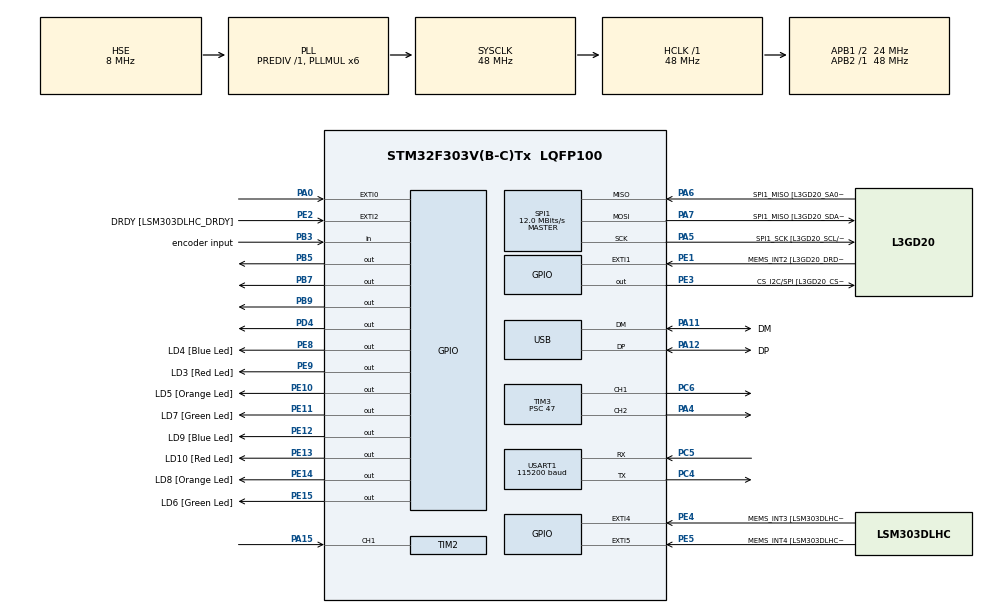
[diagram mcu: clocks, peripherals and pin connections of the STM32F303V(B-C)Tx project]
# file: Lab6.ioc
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Mcu.Family=STM32F3
Mcu.Name=STM32F303V(B-C)Tx
Mcu.Package=LQFP100
NVIC.EXTI0_IRQn=true\:0\:0\:false\:false\:true\:true\:true\:true
NVIC.PriorityGroup=NVIC_PRIORITYGROUP_0
NVIC.TIM2_IRQn=true\:0\:0\:false\:false\:true\:true\:true\:true
PA0.GPIO_PuPd=GPIO_PULLDOWN
PA0.Signal=GPXTI0
PA11.GPIO_Label=DM
PA11.Mode=Device
PA11.Signal=USB_DM
PA12.GPIO_Label=DP
PA12.Mode=Device
PA12.Signal=USB_DP
PA13.GPIO_Label=SWDIO
PA13.Mode=Serial_Wire
PA13.Signal=SYS_JTMS-SWDIO
PA14.GPIO_Label=SWCLK
PA14.Mode=Serial_Wire
PA14.Signal=SYS_JTCK-SWCLK
PA15.Signal=S_TIM2_CH1_ETR
PA4.Signal=S_TIM3_CH2
PA5.GPIO_Label=SPI1_SCK [L3GD20_SCL/SPC]
PA5.Mode=Full_Duplex_Master
PA5.Signal=SPI1_SCK
PA6.GPIO_Label=SPI1_MISO [L3GD20_SA0/SDO]
PA6.Mode=Full_Duplex_Master
PA6.Signal=SPI1_MISO
PA7.GPIO_Label=SPI1_MISO [L3GD20_SDA/SDI/SDO]
PA7.Mode=Full_Duplex_Master
PA7.Signal=SPI1_MOSI
PB3.GPIO_Label=encoder input
PB3.GPIO_PuPd=GPIO_PULLDOWN
PB3.Signal=GPIO_Input
PB5.Signal=GPIO_Output
PB7.Signal=GPIO_Output
PB9.Signal=GPIO_Output
PC14-OSC32_IN.GPIO_Label=OSC32_IN
PC14-OSC32_IN.Signal=RCC_OSC32_IN
PC15-OSC32_OUT.GPIO_Label=OSC32_OUT
PC15-OSC32_OUT.Signal=RCC_OSC32_OUT
PC4.Mode=Asynchronous
PC4.Signal=USART1_TX
PC5.Mode=Asynchronous
PC5.Signal=USART1_RX
PC6.Signal=S_TIM3_CH1
PD4.Signal=GPIO_Output
PE1.GPIO_Label=MEMS_INT2 [L3GD20_DRDY/INT2]
PE1.GPIO_ModeDefaultEXTI=GPIO_MODE_EVT_RISING
PE1.Signal=GPXTI1
PE10.GPIO_Label=LD5 [Orange Led]
PE10.Signal=GPIO_Output
PE11.GPIO_Label=LD7 [Green Led]
PE11.Signal=GPIO_Output
PE12.GPIO_Label=LD9 [Blue Led]
PE12.Signal=GPIO_Output
PE13.GPIO_Label=LD10 [Red Led]
PE13.Signal=GPIO_Output
PE14.GPIO_Label=LD8 [Orange Led]
PE14.Signal=GPIO_Output
PE15.GPIO_Label=LD6 [Green Led]
PE15.Signal=GPIO_Output
PE2.GPIO_Label=DRDY [LSM303DLHC_DRDY]
PE2.GPIO_ModeDefaultEXTI=GPIO_MODE_EVT_RISING
PE2.Signal=GPXTI2
PE3.GPIO_Label=CS_I2C/SPI [L3GD20_CS_I2C/SPI]
PE3.Signal=GPIO_Output
PE4.GPIO_Label=MEMS_INT3 [LSM303DLHC_INT1]
PE4.GPIO_ModeDefaultEXTI=GPIO_MODE_EVT_RISING
PE4.Signal=GPXTI4
PE5.GPIO_Label=MEMS_INT4 [LSM303DLHC_INT2]
PE5.GPIO_ModeDefaultEXTI=GPIO_MODE_EVT_RISING
PE5.Signal=GPXTI5
PE8.GPIO_Label=LD4 [Blue Led]
PE8.Signal=GPIO_Output
PE9.GPIO_Label=LD3 [Red Led]
PE9.Signal=GPIO_Output
PF0-OSC_IN.GPIO_Label=OSC_IN
PF0-OSC_IN.Mode=HSE-External-Clock-Source
PF0-OSC_IN.Signal=RCC_OSC_IN
PF1-OSC_OUT.GPIO_Label=OSC_OUT
PF1-OSC_OUT.Signal=RCC_OSC_OUT
ProjectManager.HeapSize=0x200
ProjectManager.StackSize=0x400
ProjectManager.TargetToolchain=CMake
RCC.AHBFreq_Value=48000000
RCC.APB1CLKDivider=RCC_HCLK_DIV2
RCC.APB1Freq_Value=24000000
RCC.APB1TimFreq_Value=48000000
RCC.APB2Freq_Value=48000000
RCC.APB2TimFreq_Value=48000000
RCC.CortexFreq_Value=48000000
RCC.HCLKFreq_Value=48000000
RCC.HSE_VALUE=8000000
RCC.HSI_VALUE=8000000
RCC.LSE_VALUE=32768
RCC.PLLMUL=RCC_PLL_MUL6
RCC.SYSCLKFreq_VALUE=48000000
RCC.SYSCLKSourceVirtual=RCC_SYSCLKSOURCE_PLLCLK
RCC.USBFreq_Value=48000000
SH.S_TIM2_CH1_ETR.0=TIM2_CH1,Input_Capture1_from_TI1
SH.S_TIM3_CH1.0=TIM3_CH1,PWM Generation1 CH1
SH.S_TIM3_CH2.0=TIM3_CH2,PWM Generation2 CH2
SPI1.BaudRatePrescaler=SPI_BAUDRATEPRESCALER_4
SPI1.BaudRatePrescaler-Full_Duplex_Master=SPI_BAUDRATEPRESCALER_2
SPI1.CalculateBaudRate=12.0 MBits/s
SPI1.CalculateBaudRate-Full_Duplex_Master=24.0 MBits/s
SPI1.Direction=SPI_DIRECTION_2LINES
SPI1.Mode=SPI_MODE_MASTER
SPI1.Mode-Full_Duplex_Master=SPI_MODE_MASTER
SPI1.VirtualType=VM_MASTER
TIM2.Channel-Input_Capture1_from_TI1=TIM_CHANNEL_1
TIM2.Prescaler=47
TIM3.Channel-PWM\ Generation1\ CH1=TIM_CHANNEL_1
TIM3.Channel-PWM\ Generation2\ CH2=TIM_CHANNEL_2
TIM3.Period=999
TIM3.Prescaler=47
USART1.BaudRate=115200
USART1.VirtualMode-Asynchronous=VM_ASYNC
VP_TIM2_VS_ClockSourceINT.Mode=Internal
board=STM32F3DISCOVERY

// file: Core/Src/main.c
/* USER CODE BEGIN Header */
/**
  ******************************************************************************
  * @file           : main.c
  * @brief          : Main program body
  ******************************************************************************
  * @attention
  *
  * Copyright (c) 2026 STMicroelectronics.
  * All rights reserved.
  *
  * This software is licensed under terms that can be found in the LICENSE file
  * in the root directory of this software component.
  * If no LICENSE file comes with this software, it is provided AS-IS.
  *
  ******************************************************************************
  */
/* USER CODE END Header */
#include "main.h"
#include <stdio.h>

SPI_HandleTypeDef hspi1;

TIM_HandleTypeDef htim2;
TIM_HandleTypeDef htim3;

UART_HandleTypeDef huart1;

PCD_HandleTypeDef hpcd_USB_FS;

/* USER CODE BEGIN PV */
volatile uint8_t captureReady = 0;
volatile uint8_t sampleIndex = 0;
volatile uint32_t periods[10] = {0};
volatile uint32_t lastCapture = 0;
volatile uint8_t hasPrevCapture = 0;

/* USER CODE END PV */

void SystemClock_Config(void);
static void MX_GPIO_Init(void);
static void MX_SPI1_Init(void);
static void MX_TIM2_Init(void);
static void MX_USB_PCD_Init(void);
static void MX_USART1_UART_Init(void);
static void MX_TIM3_Init(void);
/* USER CODE BEGIN PFP */
void aagechal(int time, int dc);
void seedhehaath(int time, int dc);
void ultehaath(int time, int dc);
void peechehutt(int time, int dc);
void rukjao(void);
/* USER CODE END PFP */

/* USER CODE BEGIN 0 */
void HAL_TIM_IC_CaptureCallback(TIM_HandleTypeDef *htim)
{
  if ((htim->Instance == TIM2) && (htim->Channel == HAL_TIM_ACTIVE_CHANNEL_1)) {
    uint32_t capture = HAL_TIM_ReadCapturedValue(htim, TIM_CHANNEL_1);

    if (hasPrevCapture) {
      uint32_t periodTicks;
      if (capture >= lastCapture) {
        periodTicks = capture - lastCapture;
      } else {
        periodTicks = (0xFFFFFFFF - lastCapture) + capture + 1;
      }

      if (!captureReady) {
        periods[sampleIndex] = periodTicks;
        sampleIndex++;
        if (sampleIndex >= 10) {
          captureReady = 1;
        }
      }
    }

    lastCapture = capture;
    hasPrevCapture = 1;
  }
}

void aagechal(int time, int dc){
    __HAL_TIM_SET_COMPARE(&htim3, TIM_CHANNEL_1, dc);
    __HAL_TIM_SET_COMPARE(&htim3, TIM_CHANNEL_2, dc);
    HAL_GPIO_WritePin(GPIOB, GPIO_PIN_5, GPIO_PIN_SET);
    HAL_GPIO_WritePin(GPIOD, GPIO_PIN_4, GPIO_PIN_RESET);
    HAL_GPIO_WritePin(GPIOB, GPIO_PIN_7, GPIO_PIN_SET);
    HAL_GPIO_WritePin(GPIOB, GPIO_PIN_9, GPIO_PIN_RESET);
    if (time > 0) HAL_Delay(time);
}

void seedhehaath(int time, int dc){
    __HAL_TIM_SET_COMPARE(&htim3, TIM_CHANNEL_1, dc);
    __HAL_TIM_SET_COMPARE(&htim3, TIM_CHANNEL_2, dc);
    HAL_GPIO_WritePin(GPIOB, GPIO_PIN_5, GPIO_PIN_SET);
    HAL_GPIO_WritePin(GPIOD, GPIO_PIN_4, GPIO_PIN_RESET);
    HAL_GPIO_WritePin(GPIOB, GPIO_PIN_7, GPIO_PIN_RESET);
    HAL_GPIO_WritePin(GPIOB, GPIO_PIN_9, GPIO_PIN_SET);
    if (time > 0) HAL_Delay(time);
}

void ultehaath(int time, int dc){
    __HAL_TIM_SET_COMPARE(&htim3, TIM_CHANNEL_1, dc);
    __HAL_TIM_SET_COMPARE(&htim3, TIM_CHANNEL_2, dc);
    HAL_GPIO_WritePin(GPIOB, GPIO_PIN_5, GPIO_PIN_RESET);
    HAL_GPIO_WritePin(GPIOD, GPIO_PIN_4, GPIO_PIN_SET);
    HAL_GPIO_WritePin(GPIOB, GPIO_PIN_7, GPIO_PIN_SET);
    HAL_GPIO_WritePin(GPIOB, GPIO_PIN_9, GPIO_PIN_RESET);
    if (time > 0) HAL_Delay(time);
}

void peechehutt(int time, int dc){
    __HAL_TIM_SET_COMPARE(&htim3, TIM_CHANNEL_1, dc);
    __HAL_TIM_SET_COMPARE(&htim3, TIM_CHANNEL_2, dc);
    HAL_GPIO_WritePin(GPIOB, GPIO_PIN_5, GPIO_PIN_RESET);
    HAL_GPIO_WritePin(GPIOD, GPIO_PIN_4, GPIO_PIN_SET);
    HAL_GPIO_WritePin(GPIOB, GPIO_PIN_7, GPIO_PIN_RESET);
    HAL_GPIO_WritePin(GPIOB, GPIO_PIN_9, GPIO_PIN_SET);
    if (time > 0) HAL_Delay(time);
}

void rukjao(void) {
    __HAL_TIM_SET_COMPARE(&htim3, TIM_CHANNEL_1, 0);
    __HAL_TIM_SET_COMPARE(&htim3, TIM_CHANNEL_2, 0);
    HAL_GPIO_WritePin(GPIOB, GPIO_PIN_5, GPIO_PIN_RESET);
    HAL_GPIO_WritePin(GPIOD, GPIO_PIN_4, GPIO_PIN_RESET);
    HAL_GPIO_WritePin(GPIOB, GPIO_PIN_7, GPIO_PIN_RESET);
    HAL_GPIO_WritePin(GPIOB, GPIO_PIN_9, GPIO_PIN_RESET);
}

/* USER CODE END 0 */

int main(void)
{

  /* MCU Configuration--------------------------------------------------------*/

  /* Reset of all peripherals, Initializes the Flash interface and the Systick. */
  HAL_Init();

  /* Configure the system clock */
  SystemClock_Config();

  /* Initialize all configured peripherals */
  MX_GPIO_Init();
  MX_SPI1_Init();
  MX_TIM2_Init();
  MX_USB_PCD_Init();
  MX_USART1_UART_Init();
  MX_TIM3_Init();
  /* USER CODE BEGIN 2 */
  HAL_TIM_PWM_Start(&htim3, TIM_CHANNEL_1);
  HAL_TIM_PWM_Start(&htim3, TIM_CHANNEL_2);

  HAL_TIM_IC_Start_IT(&htim2, TIM_CHANNEL_1);

  aagechal(0, 500);
  /* USER CODE END 2 */

  /* Infinite loop */
  while (1)
  {

    /* USER CODE BEGIN 3 */
    if (captureReady)
    {
      captureReady = 0;
      uint32_t periodSum = 0;
      for (int i = 0; i < 10; i++)
      {
        periodSum += periods[i];
      }
      sampleIndex = 0;
      uint32_t averagePeriod = periodSum / 10;

      if (averagePeriod == 0) {
        continue;
      }

      uint32_t freq = 1000000 / averagePeriod;
      uint32_t ppr = 330;
      uint32_t rpm = (60 * freq) / ppr;

      char msg[80];
      int len = snprintf(msg, sizeof(msg),
          "Avg Ticks: %lu, Freq: %lu Hz, RPM: %lu\r\n", averagePeriod, freq, rpm);
      HAL_UART_Transmit(&huart1, (uint8_t*)msg, len, HAL_MAX_DELAY);
    }
    HAL_Delay(100);
  }
  /* USER CODE END 3 */
}

void SystemClock_Config(void)
{
  RCC_OscInitTypeDef RCC_OscInitStruct = {0};
  RCC_ClkInitTypeDef RCC_ClkInitStruct = {0};
  RCC_PeriphCLKInitTypeDef PeriphClkInit = {0};

  /** Initializes the RCC Oscillators according to the specified parameters
  * in the RCC_OscInitTypeDef structure.
  */
  RCC_OscInitStruct.OscillatorType = RCC_OSCILLATORTYPE_HSE;
  RCC_OscInitStruct.HSEState = RCC_HSE_BYPASS;
  RCC_OscInitStruct.HSEPredivValue = RCC_HSE_PREDIV_DIV1;
  RCC_OscInitStruct.HSIState = RCC_HSI_ON;
  RCC_OscInitStruct.PLL.PLLState = RCC_PLL_ON;
  RCC_OscInitStruct.PLL.PLLSource = RCC_PLLSOURCE_HSE;
  RCC_OscInitStruct.PLL.PLLMUL = RCC_PLL_MUL6;
  if (HAL_RCC_OscConfig(&RCC_OscInitStruct) != HAL_OK)
  {
    Error_Handler();
  }

  /** Initializes the CPU, AHB and APB buses clocks
  */
  RCC_ClkInitStruct.ClockType = RCC_CLOCKTYPE_HCLK|RCC_CLOCKTYPE_SYSCLK
                              |RCC_CLOCKTYPE_PCLK1|RCC_CLOCKTYPE_PCLK2;
  RCC_ClkInitStruct.SYSCLKSource = RCC_SYSCLKSOURCE_PLLCLK;
  RCC_ClkInitStruct.AHBCLKDivider = RCC_SYSCLK_DIV1;
  RCC_ClkInitStruct.APB1CLKDivider = RCC_HCLK_DIV2;
  RCC_ClkInitStruct.APB2CLKDivider = RCC_HCLK_DIV1;

  if (HAL_RCC_ClockConfig(&RCC_ClkInitStruct, FLASH_LATENCY_1) != HAL_OK)
  {
    Error_Handler();
  }
  PeriphClkInit.PeriphClockSelection = RCC_PERIPHCLK_USB|RCC_PERIPHCLK_USART1;
  PeriphClkInit.Usart1ClockSelection = RCC_USART1CLKSOURCE_PCLK2;
  PeriphClkInit.USBClockSelection = RCC_USBCLKSOURCE_PLL;
  if (HAL_RCCEx_PeriphCLKConfig(&PeriphClkInit) != HAL_OK)
  {
    Error_Handler();
  }
}

static void MX_SPI1_Init(void)
{

  /* SPI1 parameter configuration*/
  hspi1.Instance = SPI1;
  hspi1.Init.Mode = SPI_MODE_MASTER;
  hspi1.Init.Direction = SPI_DIRECTION_2LINES;
  hspi1.Init.DataSize = SPI_DATASIZE_4BIT;
  hspi1.Init.CLKPolarity = SPI_POLARITY_LOW;
  hspi1.Init.CLKPhase = SPI_PHASE_1EDGE;
  hspi1.Init.NSS = SPI_NSS_SOFT;
  hspi1.Init.BaudRatePrescaler = SPI_BAUDRATEPRESCALER_4;
  hspi1.Init.FirstBit = SPI_FIRSTBIT_MSB;
  hspi1.Init.TIMode = SPI_TIMODE_DISABLE;
  hspi1.Init.CRCCalculation = SPI_CRCCALCULATION_DISABLE;
  hspi1.Init.CRCPolynomial = 7;
  hspi1.Init.CRCLength = SPI_CRC_LENGTH_DATASIZE;
  hspi1.Init.NSSPMode = SPI_NSS_PULSE_ENABLE;
  if (HAL_SPI_Init(&hspi1) != HAL_OK)
  {
    Error_Handler();
  }

}

static void MX_TIM2_Init(void)
{

  TIM_ClockConfigTypeDef sClockSourceConfig = {0};
  TIM_MasterConfigTypeDef sMasterConfig = {0};
  TIM_IC_InitTypeDef sConfigIC = {0};

  htim2.Instance = TIM2;
  htim2.Init.Prescaler = 47;
  htim2.Init.CounterMode = TIM_COUNTERMODE_UP;
  htim2.Init.Period = 4294967295;
  htim2.Init.ClockDivision = TIM_CLOCKDIVISION_DIV1;
  htim2.Init.AutoReloadPreload = TIM_AUTORELOAD_PRELOAD_DISABLE;
  if (HAL_TIM_Base_Init(&htim2) != HAL_OK)
  {
    Error_Handler();
  }
  sClockSourceConfig.ClockSource = TIM_CLOCKSOURCE_INTERNAL;
  if (HAL_TIM_ConfigClockSource(&htim2, &sClockSourceConfig) != HAL_OK)
  {
    Error_Handler();
  }
  if (HAL_TIM_IC_Init(&htim2) != HAL_OK)
  {
    Error_Handler();
  }
  sMasterConfig.MasterOutputTrigger = TIM_TRGO_RESET;
  sMasterConfig.MasterSlaveMode = TIM_MASTERSLAVEMODE_DISABLE;
  if (HAL_TIMEx_MasterConfigSynchronization(&htim2, &sMasterConfig) != HAL_OK)
  {
    Error_Handler();
  }
  sConfigIC.ICPolarity = TIM_INPUTCHANNELPOLARITY_RISING;
  sConfigIC.ICSelection = TIM_ICSELECTION_DIRECTTI;
  sConfigIC.ICPrescaler = TIM_ICPSC_DIV1;
  sConfigIC.ICFilter = 0;
  if (HAL_TIM_IC_ConfigChannel(&htim2, &sConfigIC, TIM_CHANNEL_1) != HAL_OK)
  {
    Error_Handler();
  }

}

static void MX_TIM3_Init(void)
{

  TIM_MasterConfigTypeDef sMasterConfig = {0};
  TIM_OC_InitTypeDef sConfigOC = {0};

  htim3.Instance = TIM3;
  htim3.Init.Prescaler = 47;
  htim3.Init.CounterMode = TIM_COUNTERMODE_UP;
  htim3.Init.Period = 999;
  htim3.Init.ClockDivision = TIM_CLOCKDIVISION_DIV1;
  htim3.Init.AutoReloadPreload = TIM_AUTORELOAD_PRELOAD_DISABLE;
  if (HAL_TIM_PWM_Init(&htim3) != HAL_OK)
  {
    Error_Handler();
  }
  sMasterConfig.MasterOutputTrigger = TIM_TRGO_RESET;
  sMasterConfig.MasterSlaveMode = TIM_MASTERSLAVEMODE_DISABLE;
  if (HAL_TIMEx_MasterConfigSynchronization(&htim3, &sMasterConfig) != HAL_OK)
  {
    Error_Handler();
  }
  sConfigOC.OCMode = TIM_OCMODE_PWM1;
  sConfigOC.Pulse = 0;
  sConfigOC.OCPolarity = TIM_OCPOLARITY_HIGH;
  sConfigOC.OCFastMode = TIM_OCFAST_DISABLE;
  if (HAL_TIM_PWM_ConfigChannel(&htim3, &sConfigOC, TIM_CHANNEL_1) != HAL_OK)
  {
    Error_Handler();
  }
  if (HAL_TIM_PWM_ConfigChannel(&htim3, &sConfigOC, TIM_CHANNEL_2) != HAL_OK)
  {
    Error_Handler();
  }
  HAL_TIM_MspPostInit(&htim3);

}

static void MX_USART1_UART_Init(void)
{

  huart1.Instance = USART1;
  huart1.Init.BaudRate = 115200;
  huart1.Init.WordLength = UART_WORDLENGTH_8B;
  huart1.Init.StopBits = UART_STOPBITS_1;
  huart1.Init.Parity = UART_PARITY_NONE;
  huart1.Init.Mode = UART_MODE_TX_RX;
  huart1.Init.HwFlowCtl = UART_HWCONTROL_NONE;
  huart1.Init.OverSampling = UART_OVERSAMPLING_16;
  huart1.Init.OneBitSampling = UART_ONE_BIT_SAMPLE_DISABLE;
  huart1.AdvancedInit.AdvFeatureInit = UART_ADVFEATURE_NO_INIT;
  if (HAL_UART_Init(&huart1) != HAL_OK)
  {
    Error_Handler();
  }

}

static void MX_USB_PCD_Init(void)
{

  hpcd_USB_FS.Instance = USB;
  hpcd_USB_FS.Init.dev_endpoints = 8;
  hpcd_USB_FS.Init.speed = PCD_SPEED_FULL;
  hpcd_USB_FS.Init.phy_itface = PCD_PHY_EMBEDDED;
  hpcd_USB_FS.Init.low_power_enable = DISABLE;
  hpcd_USB_FS.Init.battery_charging_enable = DISABLE;
  if (HAL_PCD_Init(&hpcd_USB_FS) != HAL_OK)
  {
    Error_Handler();
  }

}

static void MX_GPIO_Init(void)
{
  GPIO_InitTypeDef GPIO_InitStruct = {0};

  /* GPIO Ports Clock Enable */
  __HAL_RCC_GPIOE_CLK_ENABLE();
  __HAL_RCC_GPIOC_CLK_ENABLE();
  __HAL_RCC_GPIOF_CLK_ENABLE();
  __HAL_RCC_GPIOA_CLK_ENABLE();
  __HAL_RCC_GPIOD_CLK_ENABLE();
  __HAL_RCC_GPIOB_CLK_ENABLE();

  /*Configure GPIO pin Output Level */
  HAL_GPIO_WritePin(GPIOE, CS_I2C_SPI_Pin|LD4_Pin|LD3_Pin|LD5_Pin
                          |LD7_Pin|LD9_Pin|LD10_Pin|LD8_Pin
                          |LD6_Pin, GPIO_PIN_RESET);

  /*Configure GPIO pin Output Level */
  HAL_GPIO_WritePin(GPIOD, GPIO_PIN_4, GPIO_PIN_RESET);

  /*Configure GPIO pin Output Level */
  HAL_GPIO_WritePin(GPIOB, GPIO_PIN_5|GPIO_PIN_7|GPIO_PIN_9, GPIO_PIN_RESET);

  /*Configure GPIO pins : DRDY_Pin MEMS_INT3_Pin MEMS_INT4_Pin MEMS_INT2_Pin */
  GPIO_InitStruct.Pin = DRDY_Pin|MEMS_INT3_Pin|MEMS_INT4_Pin|MEMS_INT2_Pin;
  GPIO_InitStruct.Mode = GPIO_MODE_EVT_RISING;
  GPIO_InitStruct.Pull = GPIO_NOPULL;
  HAL_GPIO_Init(GPIOE, &GPIO_InitStruct);

  /*Configure GPIO pins : CS_I2C_SPI_Pin LD4_Pin LD3_Pin LD5_Pin
                           LD7_Pin LD9_Pin LD10_Pin LD8_Pin
                           LD6_Pin */
  GPIO_InitStruct.Pin = CS_I2C_SPI_Pin|LD4_Pin|LD3_Pin|LD5_Pin
                          |LD7_Pin|LD9_Pin|LD10_Pin|LD8_Pin
                          |LD6_Pin;
  GPIO_InitStruct.Mode = GPIO_MODE_OUTPUT_PP;
  GPIO_InitStruct.Pull = GPIO_NOPULL;
  GPIO_InitStruct.Speed = GPIO_SPEED_FREQ_LOW;
  HAL_GPIO_Init(GPIOE, &GPIO_InitStruct);

  /*Configure GPIO pin : PA0 */
  GPIO_InitStruct.Pin = GPIO_PIN_0;
  GPIO_InitStruct.Mode = GPIO_MODE_IT_RISING;
  GPIO_InitStruct.Pull = GPIO_PULLDOWN;
  HAL_GPIO_Init(GPIOA, &GPIO_InitStruct);

  /*Configure GPIO pin : PD4 */
  GPIO_InitStruct.Pin = GPIO_PIN_4;
  GPIO_InitStruct.Mode = GPIO_MODE_OUTPUT_PP;
  GPIO_InitStruct.Pull = GPIO_NOPULL;
  GPIO_InitStruct.Speed = GPIO_SPEED_FREQ_LOW;
  HAL_GPIO_Init(GPIOD, &GPIO_InitStruct);

  /*Configure GPIO pin : encoder_input_Pin */
  GPIO_InitStruct.Pin = encoder_input_Pin;
  GPIO_InitStruct.Mode = GPIO_MODE_INPUT;
  GPIO_InitStruct.Pull = GPIO_PULLDOWN;
  HAL_GPIO_Init(encoder_input_GPIO_Port, &GPIO_InitStruct);

  /*Configure GPIO pins : PB5 PB7 PB9 */
  GPIO_InitStruct.Pin = GPIO_PIN_5|GPIO_PIN_7|GPIO_PIN_9;
  GPIO_InitStruct.Mode = GPIO_MODE_OUTPUT_PP;
  GPIO_InitStruct.Pull = GPIO_NOPULL;
  GPIO_InitStruct.Speed = GPIO_SPEED_FREQ_LOW;
  HAL_GPIO_Init(GPIOB, &GPIO_InitStruct);

  /* EXTI interrupt init*/
  HAL_NVIC_SetPriority(EXTI0_IRQn, 0, 0);
  HAL_NVIC_EnableIRQ(EXTI0_IRQn);

}

void Error_Handler(void)
{
  __disable_irq();
  while (1)
  {
  }
}
